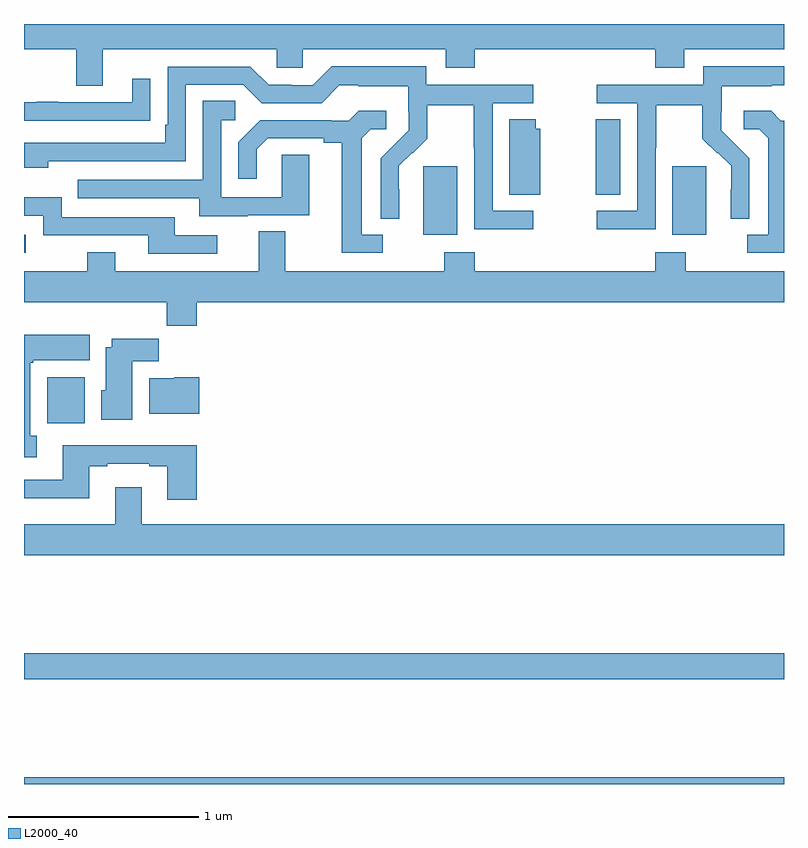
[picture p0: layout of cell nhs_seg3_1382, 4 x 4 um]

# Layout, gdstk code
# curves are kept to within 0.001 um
import gdstk
lib = gdstk.Library(unit=1e-6, precision=1e-09)
def R(c, l, rs):  # rectangles x0, y0, x1, y1
    for r in rs: c.add(gdstk.rectangle(r[:2], r[2:], *l))
def P(c, l, *ps):  # polygons
    for p in ps: c.add(gdstk.Polygon(p, *l))
L2000_40 = (2000, 40)

nhs_seg3_1382 = lib.new_cell('nhs_seg3_1382')
R(nhs_seg3_1382, L2000_40, [(183,678.4,187,678.436), (183,678.952,187,679.088), (183.122,680.3,183.319,680.542), (183,681.195,183.01,681.291), (185.102,681.29,185.281,681.651), (186.413,681.29,186.592,681.651), (186.008,681.502,186.139,681.899)])
P(nhs_seg3_1382, L2000_40, [(183,682.268),(183.275,682.268),(183.275,682.074),(183.415,682.074),(183.415,682.268),(184.329,682.268),(184.329,682.17),(184.467,682.17),(184.467,682.268),(185.219,682.268),(185.219,682.169),(185.372,682.169),(185.372,682.268),(186.323,682.268),(186.323,682.169),(186.475,682.169),(186.475,682.268),(187,682.268),(187,682.4),(183,682.4)],
  [(185.68,681.417),(185.466,681.417),(185.466,681.984),(185.68,681.984),(185.68,682.08),(185.118,682.08),(185.118,682.177),(184.621,682.177),(184.521,682.077),(184.406,682.077),(184.406,682.08),(184.287,682.08),(184.191,682.176),(183.756,682.176),(183.756,681.871),(183.743,681.871),(183.743,681.774),(183,681.774),(183,681.644),(183.128,681.644),(183.128,681.678),(183.852,681.678),(183.852,682.08),(184.155,682.08),(184.251,681.984),(184.566,681.984),(184.659,682.077),(184.759,682.077),(184.759,682.073),(185.022,682.073),(185.022,681.939),(185.024,681.939),(185.024,681.842),(184.878,681.694),(184.878,681.376),(184.974,681.376),(184.973,681.653),(185.043,681.723),(185.046,681.72),(185.123,681.797),(185.123,681.972),(185.368,681.972),(185.368,681.748),(185.37,681.748),(185.37,681.319),(185.68,681.319)],
  [(186.324,681.748),(186.327,681.748),(186.327,681.972),(186.571,681.972),(186.571,681.797),(186.648,681.72),(186.651,681.723),(186.722,681.653),(186.722,681.53),(186.72,681.53),(186.72,681.376),(186.816,681.376),(186.816,681.694),(186.67,681.842),(186.67,681.939),(186.672,681.939),(186.672,682.073),(186.935,682.073),(186.935,682.077),(187,682.077),(187,682.177),(186.576,682.177),(186.576,682.08),(186.015,682.08),(186.015,681.984),(186.228,681.984),(186.228,681.417),(186.015,681.417),(186.015,681.319),(186.324,681.319)],
  [(183.563,681.892),(183.665,681.892),(183.665,682.111),(183.569,682.111),(183.569,681.987),(183.179,681.987),(183.179,681.992),(183.067,681.992),(183.067,681.987),(183,681.987),(183,681.891),(183.563,681.891)],
  [(184.177,681.393),(184.501,681.393),(184.501,681.713),(184.356,681.713),(184.356,681.489),(184.038,681.489),(184.038,681.894),(184.111,681.894),(184.111,681.995),(183.942,681.995),(183.942,681.579),(183.283,681.579),(183.283,681.483),(183.923,681.483),(183.923,681.389),(184.177,681.389)],
  [(187,681.891),(186.984,681.891),(186.932,681.943),(186.789,681.943),(186.789,681.846),(186.87,681.846),(186.917,681.799),(186.917,681.291),(186.807,681.291),(186.807,681.195),(187,681.195)],
  [(184.888,681.291),(184.777,681.291),(184.777,681.799),(184.824,681.846),(184.906,681.846),(184.906,681.943),(184.762,681.943),(184.71,681.891),(184.616,681.891),(184.616,681.894),(184.244,681.894),(184.128,681.778),(184.128,681.585),(184.225,681.585),(184.225,681.741),(184.282,681.798),(184.577,681.798),(184.577,681.776),(184.673,681.776),(184.673,681.195),(184.888,681.195)],
  [(185.716,681.85),(185.694,681.85),(185.694,681.899),(185.555,681.899),(185.555,681.502),(185.716,681.502)],
  [(184.018,681.288),(183.793,681.288),(183.793,681.384),(183.198,681.384),(183.198,681.487),(183,681.487),(183,681.39),(183.102,681.39),(183.102,681.288),(183.653,681.288),(183.653,681.192),(184.018,681.192)],
  [(183.908,680.936),(187,680.936),(187,681.1),(186.483,681.1),(186.483,681.199),(186.323,681.199),(186.323,681.1),(185.372,681.1),(185.372,681.199),(185.212,681.199),(185.212,681.1),(184.375,681.1),(184.375,681.308),(184.235,681.308),(184.235,681.1),(183.481,681.1),(183.481,681.199),(183.334,681.199),(183.334,681.1),(183,681.1),(183,680.936),(183.751,680.936),(183.751,680.812),(183.908,680.812)],
  [(183.067,680.234),(183.034,680.234),(183.034,680.617),(183.048,680.617),(183.048,680.63),(183.346,680.63),(183.346,680.764),(183,680.764),(183,680.121),(183.067,680.121)],
  [(183.571,680.624),(183.71,680.624),(183.71,680.743),(183.461,680.743),(183.461,680.698),(183.431,680.698),(183.431,680.472),(183.407,680.472),(183.407,680.318),(183.571,680.318)],
  [(183.923,680.542),(183.792,680.542),(183.792,680.536),(183.659,680.536),(183.659,680.348),(183.923,680.348)],
  [(183.908,680.182),(183.203,680.182),(183.203,680.001),(183,680.001),(183,679.904),(183.343,679.904),(183.343,680.073),(183.439,680.073),(183.439,680.085),(183.659,680.085),(183.659,680.073),(183.755,680.073),(183.755,679.896),(183.908,679.896)],
  [(187,679.768),(183.619,679.768),(183.619,679.963),(183.479,679.963),(183.479,679.768),(183,679.768),(183,679.604),(187,679.604)])

lib.write_gds('nhs_seg3_1382.gds')
